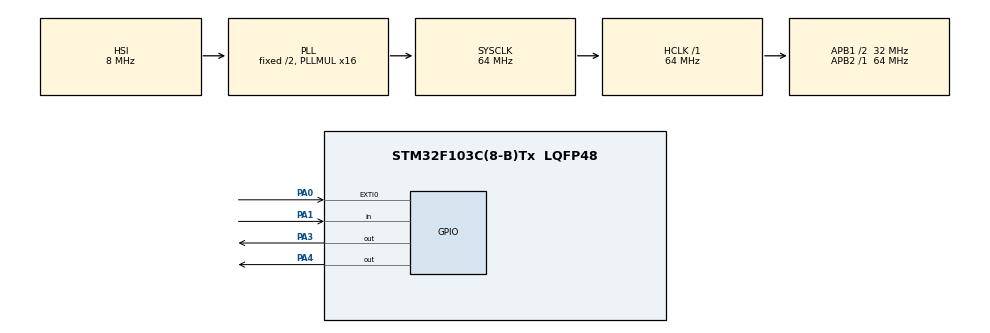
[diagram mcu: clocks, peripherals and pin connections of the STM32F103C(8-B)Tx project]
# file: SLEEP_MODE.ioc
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Mcu.Family=STM32F1
Mcu.Name=STM32F103C(8-B)Tx
Mcu.Package=LQFP48
NVIC.EXTI0_IRQn=true\:0\:0\:false\:false\:true\:true\:true\:true
NVIC.PriorityGroup=NVIC_PRIORITYGROUP_4
PA0-WKUP.Signal=GPXTI0
PA1.Signal=GPIO_Input
PA13.Mode=Serial_Wire
PA13.Signal=SYS_JTMS-SWDIO
PA14.Mode=Serial_Wire
PA14.Signal=SYS_JTCK-SWCLK
PA3.Signal=GPIO_Output
PA4.Signal=GPIO_Output
ProjectManager.HeapSize=0x200
ProjectManager.StackSize=0x400
ProjectManager.TargetToolchain=MDK-ARM V5.32
RCC.AHBFreq_Value=64000000
RCC.APB1CLKDivider=RCC_HCLK_DIV2
RCC.APB1Freq_Value=32000000
RCC.APB1TimFreq_Value=64000000
RCC.APB2Freq_Value=64000000
RCC.APB2TimFreq_Value=64000000
RCC.HCLKFreq_Value=64000000
RCC.PLLMUL=RCC_PLL_MUL16
RCC.SYSCLKFreq_VALUE=64000000
RCC.SYSCLKSource=RCC_SYSCLKSOURCE_PLLCLK
RCC.USBFreq_Value=64000000
board=custom

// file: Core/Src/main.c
/* USER CODE BEGIN Header */
/**
  ******************************************************************************
  * @file           : main.c
  * @brief          : Main program body
  ******************************************************************************
  * @attention
  *
  * Copyright (c) 2026 STMicroelectronics.
  * All rights reserved.
  *
  * This software is licensed under terms that can be found in the LICENSE file
  * in the root directory of this software component.
  * If no LICENSE file comes with this software, it is provided AS-IS.
  *
  ******************************************************************************
  */
/* USER CODE END Header */
#include "main.h"

/* USER CODE BEGIN PD */
uint8_t SleepMode_Activated = 0;   // Flag: CPU is in sleep
uint8_t EnterSleepFlag = 0;        // Flag: request to enter sleep
uint8_t Button_state = 0;
/* USER CODE END PD */

void SystemClock_Config(void);
static void MX_GPIO_Init(void);

/* USER CODE BEGIN 0 */
void blink_led(void)
{
    static uint32_t lastTick = 0;
    static uint8_t state = 0;

    if (state == 0) { // LED OFF
        if (HAL_GetTick() - lastTick >= 950) {
            HAL_GPIO_WritePin(GPIOA, GPIO_PIN_3, GPIO_PIN_RESET);
            state = 1;
            lastTick = HAL_GetTick();
        }
    } else { // LED ON
        if (HAL_GetTick() - lastTick >= 50) {
            HAL_GPIO_WritePin(GPIOA, GPIO_PIN_3, GPIO_PIN_SET);
            state = 0;
            lastTick = HAL_GetTick();
        }
    }
}
/* USER CODE END 0 */

int main(void)
{

  /* MCU Configuration--------------------------------------------------------*/

  /* Reset of all peripherals, Initializes the Flash interface and the Systick. */
  HAL_Init();

  /* Configure the system clock */
  SystemClock_Config();

  /* USER CODE BEGIN SysInit */
	HAL_GPIO_WritePin(GPIOA, GPIO_PIN_3, GPIO_PIN_SET);
  /* USER CODE END SysInit */

  /* Initialize all configured peripherals */
  MX_GPIO_Init();

  /* Infinite loop */
  /* USER CODE BEGIN WHILE */
  while (1) {
		if (EnterSleepFlag)
    {
        EnterSleepFlag = 0;
        SleepMode_Activated = 1;
        HAL_SuspendTick();
        HAL_PWR_EnterSLEEPMode(PWR_MAINREGULATOR_ON, PWR_SLEEPENTRY_WFI);
    }

		Button_state = HAL_GPIO_ReadPin(GPIOA, GPIO_PIN_1);

    if (Button_state == GPIO_PIN_SET)
    {
        HAL_GPIO_WritePin(GPIOA, GPIO_PIN_4, GPIO_PIN_RESET);
    }
    else
    {
        HAL_GPIO_WritePin(GPIOA, GPIO_PIN_4, GPIO_PIN_SET);
    }

		blink_led();

    /* USER CODE END WHILE */

  }
}

void SystemClock_Config(void)
{
  RCC_OscInitTypeDef RCC_OscInitStruct = {0};
  RCC_ClkInitTypeDef RCC_ClkInitStruct = {0};

  /** Initializes the RCC Oscillators according to the specified parameters
  * in the RCC_OscInitTypeDef structure.
  */
  RCC_OscInitStruct.OscillatorType = RCC_OSCILLATORTYPE_HSI;
  RCC_OscInitStruct.HSIState = RCC_HSI_ON;
  RCC_OscInitStruct.HSICalibrationValue = RCC_HSICALIBRATION_DEFAULT;
  RCC_OscInitStruct.PLL.PLLState = RCC_PLL_ON;
  RCC_OscInitStruct.PLL.PLLSource = RCC_PLLSOURCE_HSI_DIV2;
  RCC_OscInitStruct.PLL.PLLMUL = RCC_PLL_MUL16;
  if (HAL_RCC_OscConfig(&RCC_OscInitStruct) != HAL_OK)
  {
    Error_Handler();
  }

  /** Initializes the CPU, AHB and APB buses clocks
  */
  RCC_ClkInitStruct.ClockType = RCC_CLOCKTYPE_HCLK|RCC_CLOCKTYPE_SYSCLK
                              |RCC_CLOCKTYPE_PCLK1|RCC_CLOCKTYPE_PCLK2;
  RCC_ClkInitStruct.SYSCLKSource = RCC_SYSCLKSOURCE_PLLCLK;
  RCC_ClkInitStruct.AHBCLKDivider = RCC_SYSCLK_DIV1;
  RCC_ClkInitStruct.APB1CLKDivider = RCC_HCLK_DIV2;
  RCC_ClkInitStruct.APB2CLKDivider = RCC_HCLK_DIV1;

  if (HAL_RCC_ClockConfig(&RCC_ClkInitStruct, FLASH_LATENCY_2) != HAL_OK)
  {
    Error_Handler();
  }
}

static void MX_GPIO_Init(void)
{
  GPIO_InitTypeDef GPIO_InitStruct = {0};

  /* GPIO Ports Clock Enable */
  __HAL_RCC_GPIOA_CLK_ENABLE();

  /*Configure GPIO pin Output Level */
  HAL_GPIO_WritePin(GPIOA, GPIO_PIN_3|GPIO_PIN_4, GPIO_PIN_RESET);

  /*Configure GPIO pin : PA0 */
  GPIO_InitStruct.Pin = GPIO_PIN_0;
  GPIO_InitStruct.Mode = GPIO_MODE_IT_RISING;
  GPIO_InitStruct.Pull = GPIO_NOPULL;
  HAL_GPIO_Init(GPIOA, &GPIO_InitStruct);

  /*Configure GPIO pin : PA1 */
  GPIO_InitStruct.Pin = GPIO_PIN_1;
  GPIO_InitStruct.Mode = GPIO_MODE_INPUT;
  GPIO_InitStruct.Pull = GPIO_NOPULL;
  HAL_GPIO_Init(GPIOA, &GPIO_InitStruct);

  /*Configure GPIO pins : PA3 PA4 */
  GPIO_InitStruct.Pin = GPIO_PIN_3|GPIO_PIN_4;
  GPIO_InitStruct.Mode = GPIO_MODE_OUTPUT_PP;
  GPIO_InitStruct.Pull = GPIO_NOPULL;
  GPIO_InitStruct.Speed = GPIO_SPEED_FREQ_LOW;
  HAL_GPIO_Init(GPIOA, &GPIO_InitStruct);

  /* EXTI interrupt init*/
  HAL_NVIC_SetPriority(EXTI0_IRQn, 0, 0);
  HAL_NVIC_EnableIRQ(EXTI0_IRQn);

}

/* USER CODE BEGIN 4 */
/**
  * @brief EXTI line callback for PA0
  */
void HAL_GPIO_EXTI_Callback(uint16_t GPIO_Pin)
{
    if(GPIO_Pin == GPIO_PIN_0) // Sleep control button
    {
        if(SleepMode_Activated == 1) {
            HAL_ResumeTick();       // Wake up
            SleepMode_Activated = 0;
        } else {
            EnterSleepFlag = 1;     // Enter sleep on next loop
        }
    }
}
/* USER CODE END 4 */

void Error_Handler(void)
{
  __disable_irq();
  while (1)
  {
  }
}
